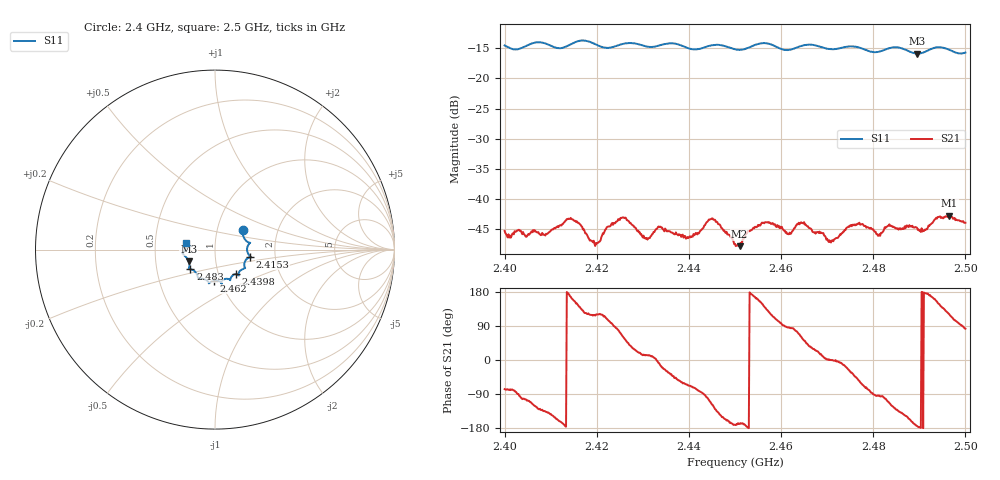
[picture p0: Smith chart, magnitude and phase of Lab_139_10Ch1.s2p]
# Hz S RI R 50
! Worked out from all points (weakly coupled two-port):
!   601 points, 2.4 GHz to 2.5 GHz, reference 50 ohm
!   highest |S21| = -42.80 dB at 2.4965 GHz (marker M1); lowest = -47.9 dB at 2.451 GHz (marker M2)
!   lowest |S11| = -15.9 dB at 2.4895 GHz (marker M3), VSWR 1.38, Z = 36.9 - j5 ohm
!   |S11| at or under -10 dB: start of sweep to end of sweep
!   S12 and S22 are empty: the file has one direction only
!   S11 on the Smith chart (normalised r, x): 2.4 GHz: 1.33, +0.29; 2.4153 GHz: 1.48, -0.12; 2.4398 GHz: 1.21, -0.34; 2.462 GHz: 0.93, -0.33; 2.483 GHz: 0.74, -0.17; 2.5 GHz: 0.72, +0.06
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2.4e9  0.155 0.1067  0.00123 -0.00527  0 0  0 0
2.415333e9  0.1966 -0.0385  -0.00585 0.00298  0 0  0 0
2.416667e9  0.2022 -0.0426  -0.00414 0.00423  0 0  0 0
2.42e9  0.1846 -0.0459  -0.00215 0.00366  0 0  0 0
2.425667e9  0.1664 -0.0995  0.0033 0.00618  0 0  0 0
2.430833e9  0.1445 -0.1142  0.00462 0.00104  0 0  0 0
2.433333e9  0.1309 -0.1336  0.00583 -0.000722  0 0  0 0
2.439833e9  0.1153 -0.1364  0.00183 -0.00434  0 0  0 0
2.445167e9  0.0847 -0.1693  -0.00333 -0.00601  0 0  0 0
2.45e9  0.0646 -0.1625  -0.00418 -0.000655  0 0  0 0
2.451e9  0.0535 -0.1641  -0.00396 -0.000786  0 0  0 0
2.456333e9  0.0388 -0.193  -0.00486 0.00395  0 0  0 0
2.462e9  -0.005 -0.1732  0.000543 0.00508  0 0  0 0
2.464333e9  -0.029 -0.1841  0.00301 0.00562  0 0  0 0
2.466667e9  -0.0342 -0.1876  0.00464 0.00297  0 0  0 0
2.470833e9  -0.0566 -0.1656  0.00434 9.86e-06  0 0  0 0
2.4755e9  -0.0933 -0.1595  0.00494 -0.00355  0 0  0 0
2.483e9  -0.1375 -0.1097  -0.00168 -0.00564  0 0  0 0
2.483333e9  -0.1401 -0.1096  -0.00212 -0.00559  0 0  0 0
2.4895e9  -0.1466 -0.066  -0.00572 -0.000601  0 0  0 0
2.4965e9  -0.1728 -0.0114  -0.0037 0.00623  0 0  0 0
2.5e9  -0.1596 0.0392  0.000815 0.00627  0 0  0 0
